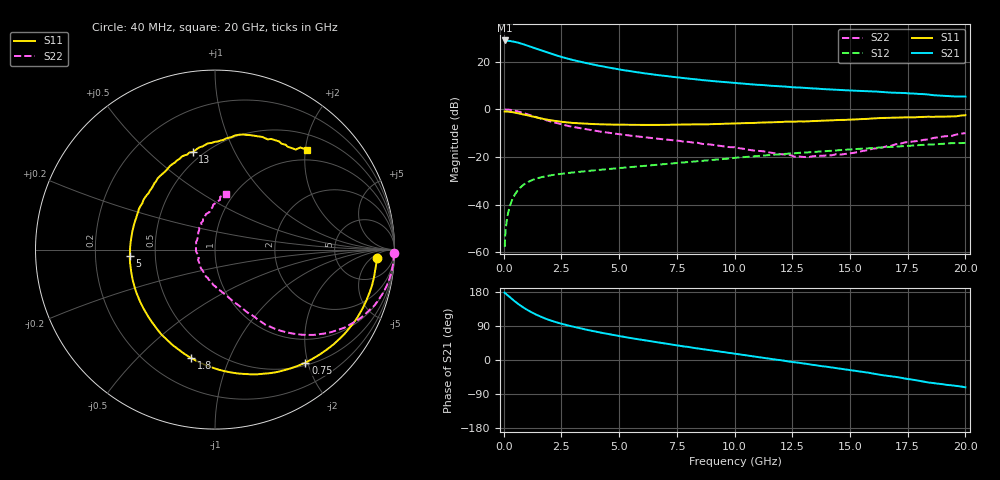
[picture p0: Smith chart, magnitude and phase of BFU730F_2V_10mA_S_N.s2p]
! Filename:  P:\Prog\Test\Noise\ATS_data\Testdata_Net\BFU730\BFU730_2W_B1_2V10mA_D.s2p
! Date/Time: Fri 29/Apr/2011 14:14:10
! BFU730_2W_B1_2V10mA
! bias mode 1: Vout= 2.0003 V, Iout= 9.9850 mA, Vin= 0.8032 V, Iin= 0.0315 mA
! Date/time Wed Mar 16 16:41:59 2011
! Device data file deembeded for feedlines and parallel
! Original file: \BFU730\BFU730_2W_B1_2V10mA_R.s2p
! Feed-files: PR003V01_101208_Feed1.s2p, PR003V01_101208_Feed2.s2p
! Parallel-file: PR003V01_101208_Par.s2p
# MHz S MA R 50
!  Freq-MHz  S11-mag  S11-arg  S21-mag  S21-arg  S12-mag  S12-arg  S22-mag  S22-arg
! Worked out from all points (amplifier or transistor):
!   167 points, 40 MHz to 20 GHz, reference 50 ohm
!   highest |S21| = 29.0 dB at 50 MHz (marker M1)
!   |S21| within 3 dB of that: start of sweep to 1.274 GHz
!   unconditionally stable (mu >= 1): 5.641 GHz to 15.92 GHz
!   at 550 MHz: K = 0.12, MSG = 31.5 dB, |S12| = -34.8 dB
!   at 4.2 GHz: K = 0.84, MSG = 21.8 dB, |S12| = -25.4 dB
!   at 20 GHz: K = 0.86, MSG = 9.7 dB, |S12| = -14.1 dB
!   lowest NFmin = 0.57 dB at 400 MHz
!   S11 on the Smith chart (normalised r, x): 40 MHz: 16, -8; 750 MHz: 0.54, -1.96; 1.8 GHz: 0.37, -0.73; 5 GHz: 0.36, -0.03; 13 GHz: 0.44, +0.70; 20 GHz: 0.79, +2.03
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40  0.9015 -2.8  27.99 177.8  0.001375 85.0  0.9957 -1.2
50  0.8994 -3.6  28.06 176.8  0.001338 87.2  0.9953 -1.8
60  0.9022 -4.1  27.72 176.4  0.002023 92.9  0.9966 -2.1
80  0.9013 -5.6  27.96 175.7  0.002732 87.0  0.9967 -3.0
240  0.891 -17.2  27.58 167.0  0.008344 81.8  0.9849 -9.7
420  0.8677 -29.9  26.67 157.8  0.01433 74.9  0.9546 -16.8
600  0.835 -42.0  25.44 149.2  0.01965 68.6  0.9102 -23.4
750  0.8064 -51.3  24.15 142.7  0.02349 63.8  0.8673 -28.3
950  0.7648 -63.1  22.49 134.8  0.02786 58.4  0.8096 -33.9
1150  0.7235 -73.8  20.88 127.7  0.03141 53.9  0.7536 -38.6
1450  0.6693 -88.2  18.59 118.5  0.03559 48.4  0.6762 -44.5
1800  0.6185 -102.5  16.25 109.5  0.03923 43.8  0.6012 -49.7
2100  0.5843 -113.0  14.53 103.0  0.04165 41.0  0.5461 -53.3
2450  0.5541 -124.0  12.86 96.6  0.0441 38.6  0.4907 -56.7
3400  0.5047 -147.2  9.816 82.4  0.04945 34.6  0.3957 -62.6
5000  0.4755 -176.0  6.925 63.3  0.05855 31.4  0.3016 -70.9
6800  0.4729 160.5  5.174 45.4  0.06976 28.3  0.2391 -80.9
10200  0.5118 126.8  3.539 14.8  0.09766 19.2  0.1527 -111.1
13000  0.5572 102.9  2.836 -9.2  0.1234 7.2  0.09997 -159.9
13400  0.5695 100.2  2.755 -12.8  0.1281 5.2  0.1039 -170.6
16800  0.6672 72.9  2.25 -43.1  0.1629 -12.9  0.1727 112.9
20000  0.7558 47.3  1.857 -72.1  0.1977 -33.8  0.3173 79.2
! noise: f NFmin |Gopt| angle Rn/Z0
400  0.5674  0.3352  3.95  0.1225
850  0.5854  0.3035  13.45  0.1227
1450  0.6106  0.2718  26.61  0.1214
2100  0.6392  0.2479  40.96  0.1182
2900  0.6764  0.2274  58.15  0.1123
4200  0.7415  0.2033  85.2  0.0999
5800  0.8294  0.183  121  0.0842
8400  0.9908  0.22  182.8  0.0723
1.2e+04  1.252  0.3888  234.2  0.1264
1.8e+04  1.785  0.6669  307.4  0.5718
